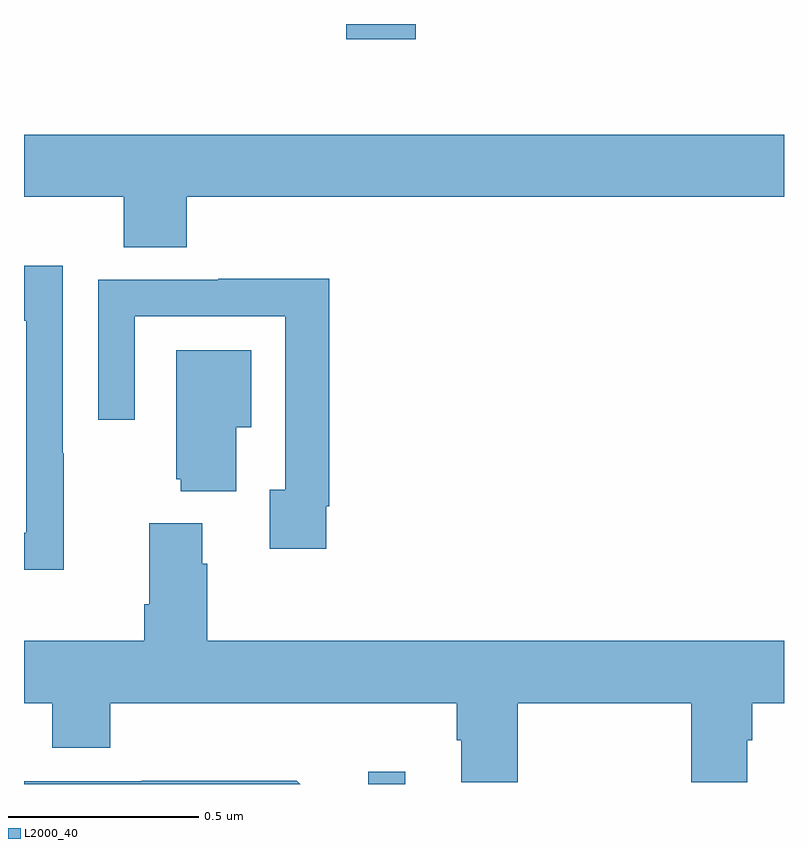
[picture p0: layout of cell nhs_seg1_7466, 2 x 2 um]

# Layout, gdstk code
import gdstk
lib = gdstk.Library(unit=1e-6, precision=1e-09)
def R(c, l, rs):  # rectangles x0, y0, x1, y1
    for r in rs: c.add(gdstk.rectangle(r[:2], r[2:], *l))
def P(c, l, *ps):  # polygons
    for p in ps: c.add(gdstk.Polygon(p, *l))
L2000_40 = (2000, 40)

nhs_seg1_7466 = lib.new_cell('nhs_seg1_7466')
R(nhs_seg1_7466, L2000_40, [(204.906,538.199,205.003,538.231), (204.848,540.159,205.031,540.199)])
P(nhs_seg1_7466, L2000_40, [(204.428,539.744),(206,539.744),(206,539.908),(204,539.908),(204,539.744),(204.263,539.744),(204.263,539.611),(204.428,539.611)],
  [(204.105,539.069),(204.102,539.069),(204.102,539.563),(204,539.563),(204,539.418),(204.006,539.418),(204.006,538.86),(204,538.86),(204,538.763),(204.105,538.763)],
  [(204.796,538.93),(204.803,538.93),(204.803,539.528),(204.511,539.528),(204.511,539.526),(204.195,539.526),(204.195,539.157),(204.291,539.157),(204.291,539.43),(204.687,539.43),(204.687,538.974),(204.647,538.974),(204.647,538.818),(204.796,538.818)],
  [(204.559,539.138),(204.598,539.138),(204.598,539.341),(204.401,539.341),(204.401,539.001),(204.413,539.001),(204.413,538.97),(204.559,538.97)],
  [(205.299,538.412),(205.756,538.412),(205.756,538.204),(205.903,538.204),(205.903,538.314),(205.916,538.314),(205.916,538.412),(206,538.412),(206,538.576),(204.482,538.576),(204.482,538.778),(204.469,538.778),(204.469,538.885),(204.329,538.885),(204.329,538.672),(204.317,538.672),(204.317,538.576),(204,538.576),(204,538.412),(204.074,538.412),(204.074,538.295),(204.227,538.295),(204.227,538.412),(205.139,538.412),(205.139,538.314),(205.151,538.314),(205.151,538.204),(205.299,538.204)],
  [(204.718,538.208),(204.31,538.208),(204.31,538.206),(204,538.206),(204,538.199),(204.727,538.199)])

lib.write_gds('nhs_seg1_7466.gds')
